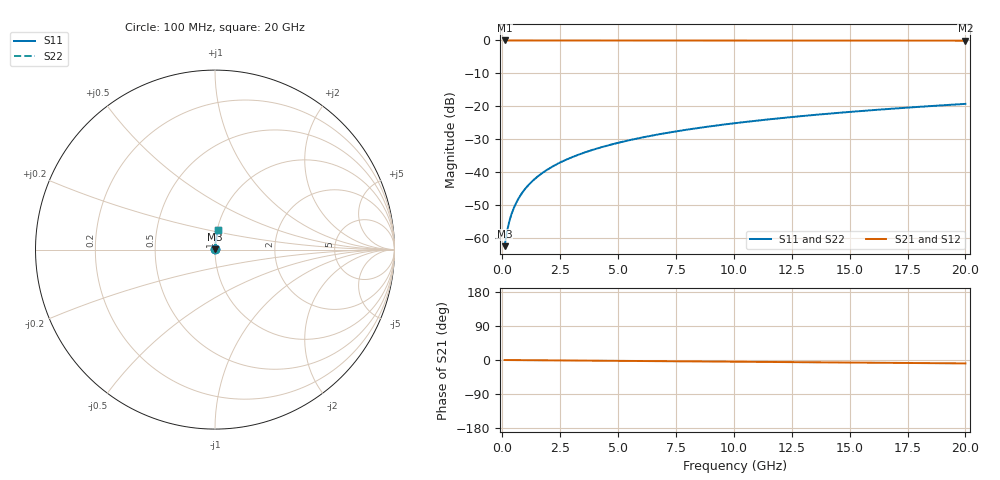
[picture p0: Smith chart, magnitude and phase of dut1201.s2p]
! Touchstone file exported from HFSS 2026.1.0
!  File:  C:/ffzhzh/LocalFiles/Ansys_Project_Files/temp_train_TSV_1201_1783192630_55132.aedt
!  Generated:  03:19:15 AM Jul  5, 2026
!  Design:  TSV
!  Project:  temp_train_TSV_1201_1783192630_55132
! Variables:
!  h_bsmrdl = 2um
!  h_ox = 20um
!  h_rdl = 5um
!  h_sub = 53.42um
!  h_tmrdl = 5um
!  h_tsv = 53.42um
!  h_via = 3um
!  l_bsmrdl = 300um
!  l_sub = 407.28um
!  l_tmrdl = 200um
!  m_sub = 200um
!  pitch = 59.38um
!  r_tsv = 3.64um
!  s_tmrdl = 10um
!  w_bsmrdl = 18um
!  w_sub = 500um
!  w_tmrdl = 12um
!  x_tsv_center1 = 206um
!  x_tsv_center2 = 524um
!  x_tsv_center3 = 736um
!  x_tsv_center4 = 1054um
!  x_tsv_center5 = 1266um
!  x_tsv_center6 = 1584um
# GHz S MA R 50.000000
! Terminal data exported
! Port[1] = TSV1_1_T1
! Port[2] = TSV1_1_T2
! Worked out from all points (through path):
!   200 points, 100 MHz to 20 GHz, reference 50 ohm
!   highest |S21| = 0.00 dB at 100 MHz (marker M1); lowest = -0.1 dB at 20 GHz (marker M2)
!   group delay of S21, straight-line fit = 1.24 ps
!   lowest |S11| = -62.4 dB at 100 MHz (marker M3), VSWR 1.00, Z = 50 + j0.0577 ohm
!   |S11| at or under -10 dB: start of sweep to end of sweep
!   |S22| runs from -62.4 to -19.2 dB; largest |S21 - S12| = 3.2e-15
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0.1  0.0007608 49.3  0.9995 -0.0  0.9995 -0.0  0.0007608 49.3
! Gamma 0 0 0 0
! Port Impedance 50 0 50 0
0.2  0.001256 66.3  0.9995 -0.1  0.9995 -0.1  0.001256 66.3
0.3  0.001793 73.3  0.9995 -0.1  0.9995 -0.1  0.001793 73.3
0.4  0.002343 77.0  0.9995 -0.2  0.9995 -0.2  0.002343 77.0
0.5  0.002897 79.3  0.9995 -0.2  0.9995 -0.2  0.002897 79.3
0.7  0.004012 82.0  0.9995 -0.3  0.9995 -0.3  0.004012 82.0
0.8  0.004571 82.8  0.9994 -0.4  0.9994 -0.4  0.004571 82.8
1  0.005693 84.0  0.9994 -0.5  0.9994 -0.5  0.005693 84.0
1.2  0.006816 84.7  0.9994 -0.6  0.9994 -0.6  0.006816 84.7
1.4  0.00794 85.2  0.9994 -0.6  0.9994 -0.6  0.00794 85.2
1.7  0.009626 85.7  0.9994 -0.8  0.9994 -0.8  0.009626 85.7
2  0.01131 86.0  0.9993 -0.9  0.9993 -0.9  0.01131 86.0
2.7  0.01524 86.2  0.9992 -1.2  0.9992 -1.2  0.01524 86.2
3.5  0.01971 86.2  0.9991 -1.6  0.9991 -1.6  0.01971 86.2
4.2  0.02361 86.1  0.9989 -1.9  0.9989 -1.9  0.02361 86.1
5  0.02804 85.9  0.9987 -2.3  0.9987 -2.3  0.02804 85.9
6.8  0.03796 85.3  0.9982 -3.1  0.9982 -3.1  0.03796 85.3
8.3  0.04617 84.7  0.9977 -3.8  0.9977 -3.8  0.04617 84.7
10.1  0.05598 84.0  0.9971 -4.6  0.9971 -4.6  0.05598 84.0
13.4  0.07386 82.7  0.9957 -6.0  0.9957 -6.0  0.07386 82.7
16.7  0.09161 81.4  0.994 -7.5  0.994 -7.5  0.09161 81.4
20  0.1092 80.0  0.9921 -9.0  0.9921 -9.0  0.1092 80.0
